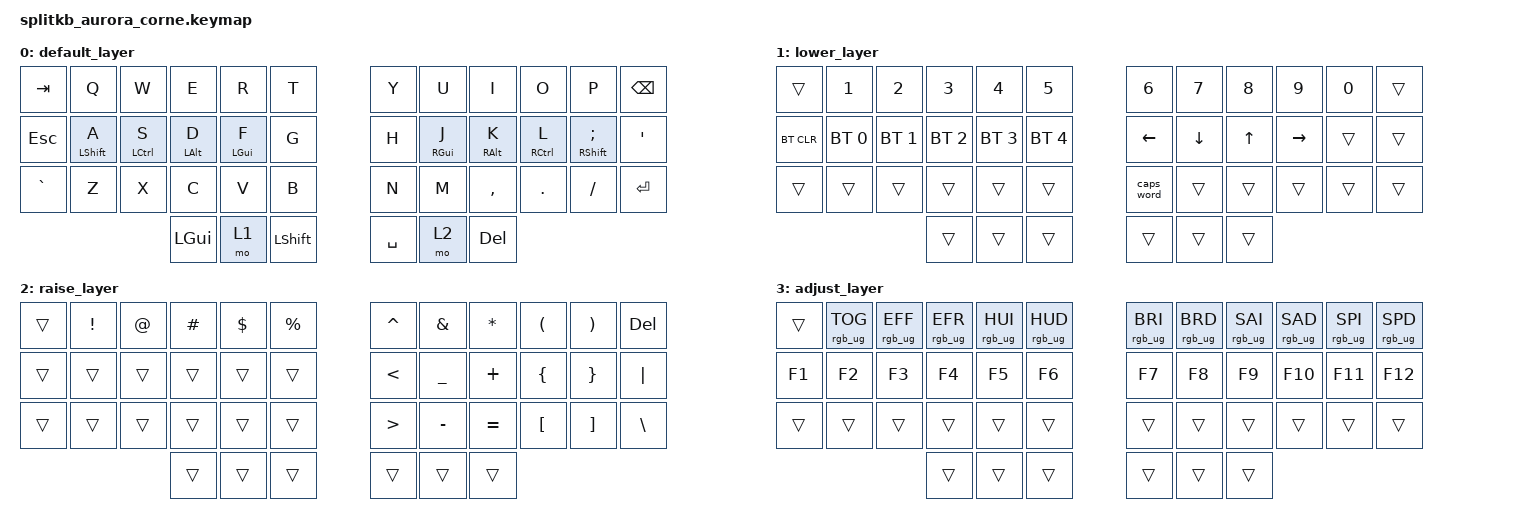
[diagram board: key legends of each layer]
/*
 * Copyright (c) 2020 The ZMK Contributors
 *
 * SPDX-License-Identifier: MIT
 */

#include <behaviors.dtsi>
#include <dt-bindings/zmk/bt.h>
#include <dt-bindings/zmk/keys.h>
#include <dt-bindings/zmk/rgb.h>

/ {
    behaviors {
        const: const {
            compatible = "zmk,behavior-send-string";
            label = "CONST";
            #binding-cells = <0>;
            text = "const";
        };

        export: export {
            compatible = "zmk,behavior-send-string";
            label = "EXPORT";
            #binding-cells = <0>;
            text = "export";
        };

        email: email {
            compatible = "zmk,behavior-send-string";
            label = "EMAIL";
            #binding-cells = <0>;
            text = "emericwarnez@bitsoflove.be";
        };

        password: password {
            compatible = "zmk,behavior-send-string";
            label = "PASSWORD";
            #binding-cells = <0>;
            text = "Test123";
        };

        log: log {
            compatible = "zmk,behavior-send-string";
            label = "LOG";
            #binding-cells = <0>;
            text = "console.log(";
        };

        func: func {
            compatible = "zmk,behavior-send-string";
            label = "FUNC";
            #binding-cells = <0>;
            text = "() => {";
        };
        

        HRM: HRM {
            compatible = "zmk,behavior-hold-tap";
            bindings = <&kp>, <&kp>;

            #binding-cells = <2>;
            tapping-term-ms = <200>;
            quick-tap-ms = <0>;
            flavor = "tap-preferred";
            hold-trigger-key-positions = <13 14 15 16 19 20 21 22>;
        };
    };

    keymap {
        compatible = "zmk,keymap";

        default_layer {
            // -----------------------------------------------------------------------------------------
            // |  TAB |  Q  |  W  |  E  |  R  |  T  |   |  Y  |  U   |  I  |  O  |  P  | BKSP |
            // |  ESC |  A  |  S  |  D  |  F  |  G  |   |  H  |  J   |  K  |  L  |  ;  |  '   |
            // |GRAVE |  Z  |  X  |  C  |  V  |  B  |   |  N  |  M   |  ,  |  .  |  /  | ENT  |
            //                    | GUI | LWR | SPC |   | ENT | RSE  | ALT |

            bindings = <
&kp TAB    &kp Q         &kp W         &kp E        &kp R        &kp T        &kp Y      &kp U        &kp I        &kp O         &kp P                 &kp BSPC
&kp ESC    &HRM LSHFT A  &HRM LCTRL S  &HRM LALT D  &HRM LGUI F  &kp G        &kp H      &HRM RGUI J  &HRM RALT K  &HRM RCTRL L  &HRM RSHFT SEMICOLON  &kp SQT
&kp GRAVE  &kp Z         &kp X         &kp C        &kp V        &kp B        &kp N      &kp M        &kp COMMA    &kp DOT       &kp FSLH              &kp RET
                                       &kp LGUI     &mo 1        &kp LSHFT    &kp SPACE  &mo 2        &kp DEL
            >;
        };

        lower_layer {
            // -----------------------------------------------------------------------------------------
            // |      |  1  |  2  |  3  |  4  |  5  |   |  6  |  7  |  8  |  9  |  0  |      |
            // | BTCLR| BT1 | BT2 | BT3 | BT4 | BT5 |   | LFT | DWN |  UP | RGT |     |      |
            // |      |     |     |     |     |     |   |     |     |     |     |     |      |
            //                    |     |     |     |   |     |     |     |

            bindings = <
&trans      &kp N1        &kp N2        &kp N3        &kp N4        &kp N5          &kp N6      &kp N7    &kp N8  &kp N9     &kp N0  &trans
&bt BT_CLR  &bt BT_SEL 0  &bt BT_SEL 1  &bt BT_SEL 2  &bt BT_SEL 3  &bt BT_SEL 4    &kp LEFT    &kp DOWN  &kp UP  &kp RIGHT  &trans  &trans
&trans      &trans        &trans        &trans        &trans        &trans          &caps_word  &trans    &trans  &trans     &trans  &trans
                                        &trans        &trans        &trans          &trans      &trans    &trans
            >;
        };

        raise_layer {
            // -----------------------------------------------------------------------------------------
            // |  TAB |  !  |  @  |  #  |  $  |  %  |   |  ^  |  &  |  *  |  (  |  )  | BKSP |
            // | CTRL |     |     |     |     |     |   |     |  _  |  +  |  {  |  }  |  \   |
            // | SHFT |     |     |     |     |     |   |     |  -  |  =  |  [  |  ]  | "|"  |
            //                    | GUI |     | SPC |   | ENT |     | ALT |

            bindings = <
&trans  &kp EXCL  &kp AT     &kp HASH  &kp DLLR  &kp PRCNT    &kp CARET         &kp AMPS   &kp ASTRK  &kp LPAR  &kp RPAR  &kp DEL
&trans  &trans   &trans     &trans      &trans     &trans       &kp LESS_THAN     &kp UNDER  &kp PLUS   &kp LBRC   &kp RBRC  &kp PIPE
&trans  &trans    &trans  &trans    &trans    &trans       &kp GREATER_THAN  &kp MINUS  &kp EQUAL  &kp LBKT  &kp RBKT  &kp BSLH
                             &trans    &trans    &trans       &trans            &trans     &trans
            >;
        };

        adjust_layer {
            // -----------------------------------------------------------------------------------------
            // |  TAB |  !  |  @  |  #  |  $  |  %  |   |  ^  |  &  |  *  |  (  |  )  | BKSP |
            // | CTRL |     |     |     |     |     |   |     |  _  |  +  |  [  |  ]  |  \   |
            // | SHFT |     |     |     |     |     |   |     |  -  |  =  |  {  |  }  | "|"  |
            //                    | GUI |     | SPC |   | ENT |     | ALT |

            bindings = <
&trans  &rgb_ug RGB_TOG  &rgb_ug RGB_EFF  &rgb_ug RGB_EFR  &rgb_ug RGB_HUI  &rgb_ug RGB_HUD    &rgb_ug RGB_BRI  &rgb_ug RGB_BRD  &rgb_ug RGB_SAI  &rgb_ug RGB_SAD  &rgb_ug RGB_SPI  &rgb_ug RGB_SPD
&kp F1  &kp F2           &kp F3           &kp F4           &kp F5           &kp F6             &kp F7           &kp F8           &kp F9           &kp F10          &kp F11          &kp F12
&trans  &trans           &trans           &trans           &trans           &trans             &trans           &trans           &trans           &trans           &trans           &trans
                                          &trans           &trans           &trans             &trans           &trans           &trans
            >;
        };
    };

    conditional_layers {
        compatible = "zmk,conditional-layers";

        tri_layer {
            if-layers = <1 2>;
            then-layer = <3>;
        };
    };
};
